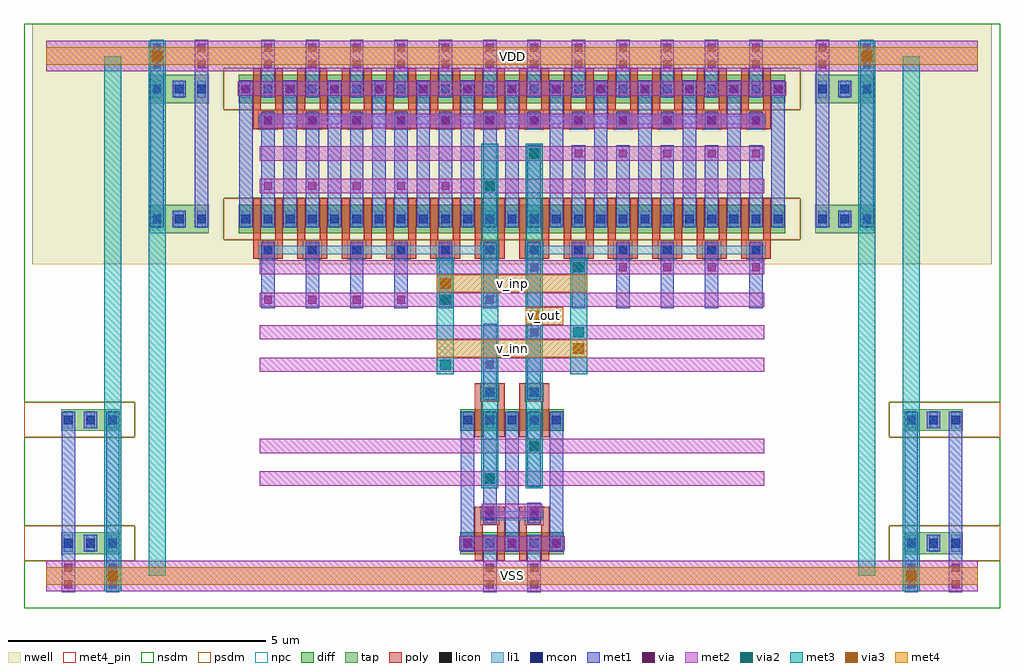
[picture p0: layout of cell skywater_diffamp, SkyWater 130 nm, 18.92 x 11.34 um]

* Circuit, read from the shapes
.subckt skywater_diffamp VDD VSS v_inn v_inp v_out
XM1 VSS n1 n2 VSS sky130_fd_pr__nfet_01v8 w=0.42 l=0.15 m=4
XM2 n1 v_inp n2 VSS sky130_fd_pr__nfet_01v8 w=0.42 l=0.15 m=2
XM3 v_out v_inn n2 VSS sky130_fd_pr__nfet_01v8 w=0.42 l=0.15 m=2
XM4 n1 v_inp n3 VDD sky130_fd_pr__pfet_01v8 w=0.55 l=0.15 m=12
XM5 VDD n1 n3 VDD sky130_fd_pr__pfet_01v8 w=0.55 l=0.15 m=24
XM6 v_out v_inn n3 VDD sky130_fd_pr__pfet_01v8 w=0.55 l=0.15 m=12
.ends

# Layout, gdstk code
from math import pi, radians
import gdstk
lib = gdstk.Library(unit=1e-6, precision=1e-09)
def R(c, l, rs):  # rectangles x0, y0, x1, y1
    for r in rs: c.add(gdstk.rectangle(r[:2], r[2:], *l))
def A(c, l, x, y, w, h, nx, ny, dx, dy):  # array of equal rectangles
    R(c, l, [(x+i*dx, y+j*dy, x+i*dx+w, y+j*dy+h) for i in range(nx) for j in range(ny)])
def P(c, l, *ps):  # polygons
    for p in ps: c.add(gdstk.Polygon(p, *l))
nwell = (64, 20)
diff = (65, 20)
tap = (65, 44)
poly = (66, 20)
licon = (66, 44)
li1 = (67, 20)
mcon = (67, 44)
met1 = (68, 20)
via = (68, 44)
met2 = (69, 20)
via2 = (69, 44)
met3 = (70, 20)
via3 = (70, 44)
met4_pin = (71, 16)
met4 = (71, 20)
nsdm = (93, 44)
psdm = (94, 20)
npc = (95, 20)

skywater_diffamp_mosend = lib.new_cell('skywater_diffamp_MOSEnd')
R(skywater_diffamp_mosend, nsdm, [(0,0,18.06,0.73)])

skywater_diffamp_mosend_ = lib.new_cell('skywater_diffamp_MOSEnd_1')
R(skywater_diffamp_mosend_, nwell, [(0,0,18.06,0.67)])
R(skywater_diffamp_mosend_, nsdm, [(0,0,18.06,0.67)])

skywater_diffamp_mosconn = lib.new_cell('skywater_diffamp_MOSConn_1')
R(skywater_diffamp_mosconn, diff, [(-0.14,0.605,1,1.025)])
R(skywater_diffamp_mosconn, poly, [(0.265,0.105,0.595,0.455)])
P(skywater_diffamp_mosconn, poly, [(0.57,1.155),(0.57,0.455),(0.29,0.455),(0.29,1.155),(0.14,1.155),(0.14,0.105),(0.72,0.105),(0.72,1.155)])
A(skywater_diffamp_mosconn, licon, -0.085, 0.73, 0.17, 0.17, 3, 1, 0.43, 0)
R(skywater_diffamp_mosconn, licon, [(0.345,0.195,0.515,0.365)])
A(skywater_diffamp_mosconn, li1, -0.085, 0.65, 0.17, 0.33, 3, 1, 0.43, 0)
A(skywater_diffamp_mosconn, li1, -0.085, 0.69, 0.17, 0.25, 3, 1, 0.43, 0)
R(skywater_diffamp_mosconn, li1, [(0.265,0.195,0.595,0.365), (0.265,0.195,0.595,0.365), (0.305,0.195,0.555,0.365)])
A(skywater_diffamp_mosconn, mcon, -0.085, 0.73, 0.17, 0.17, 3, 1, 0.43, 0)
R(skywater_diffamp_mosconn, mcon, [(0.345,0.195,0.515,0.365)])
A(skywater_diffamp_mosconn, met1, -0.13, 0.655, 0.26, 0.32, 3, 1, 0.43, 0)
A(skywater_diffamp_mosconn, met1, -0.13, 0.67, 0.26, 0.29, 3, 1, 0.43, 0)
R(skywater_diffamp_mosconn, met1, [(0.3,0.105,0.56,0.425), (0.3,0.135,0.56,0.425)])
R(skywater_diffamp_mosconn, nsdm, [(0,0,0.86,1.35)])
R(skywater_diffamp_mosconn, npc, [(0.245,0.095,0.615,0.465)])

c_skywater_diffamp_mosconn = lib.new_cell('skywater_diffamp_MOSConn_2')
R(c_skywater_diffamp_mosconn, nwell, [(0,0,5.16,1.48)])
R(c_skywater_diffamp_mosconn, diff, [(-0.14,0.605,5.3,1.155)])
A(c_skywater_diffamp_mosconn, poly, 0.265, 0.105, 0.33, 0.35, 6, 1, 0.86, 0)
P(c_skywater_diffamp_mosconn, poly, [(0.57,1.285),(0.57,0.455),(0.29,0.455),(0.29,1.285),(0.14,1.285),(0.14,0.105),(0.72,0.105),(0.72,1.285)],
  [(1.43,1.285),(1.43,0.455),(1.15,0.455),(1.15,1.285),(1,1.285),(1,0.105),(1.58,0.105),(1.58,1.285)],
  [(2.29,1.285),(2.29,0.455),(2.01,0.455),(2.01,1.285),(1.86,1.285),(1.86,0.105),(2.44,0.105),(2.44,1.285)],
  [(3.15,1.285),(3.15,0.455),(2.87,0.455),(2.87,1.285),(2.72,1.285),(2.72,0.105),(3.3,0.105),(3.3,1.285)],
  [(4.01,1.285),(4.01,0.455),(3.73,0.455),(3.73,1.285),(3.58,1.285),(3.58,0.105),(4.16,0.105),(4.16,1.285)],
  [(4.87,1.285),(4.87,0.455),(4.59,0.455),(4.59,1.285),(4.44,1.285),(4.44,0.105),(5.02,0.105),(5.02,1.285)])
A(c_skywater_diffamp_mosconn, licon, 0.345, 0.195, 0.17, 0.17, 6, 1, 0.86, 0)
A(c_skywater_diffamp_mosconn, licon, -0.085, 0.795, 0.17, 0.17, 13, 1, 0.43, 0)
A(c_skywater_diffamp_mosconn, li1, 0.265, 0.195, 0.33, 0.17, 6, 1, 0.86, 0)
A(c_skywater_diffamp_mosconn, li1, 0.305, 0.195, 0.25, 0.17, 6, 1, 0.86, 0)
A(c_skywater_diffamp_mosconn, li1, -0.085, 0.715, 0.17, 0.33, 13, 1, 0.43, 0)
A(c_skywater_diffamp_mosconn, li1, -0.085, 0.755, 0.17, 0.25, 13, 1, 0.43, 0)
R(c_skywater_diffamp_mosconn, li1, [(0.265,0.195,4.895,0.365)])
A(c_skywater_diffamp_mosconn, mcon, 0.345, 0.195, 0.17, 0.17, 6, 1, 0.86, 0)
A(c_skywater_diffamp_mosconn, mcon, -0.085, 0.795, 0.17, 0.17, 13, 1, 0.43, 0)
A(c_skywater_diffamp_mosconn, met1, 0.3, 0.105, 0.26, 0.32, 6, 1, 0.86, 0)
A(c_skywater_diffamp_mosconn, met1, 0.3, 0.135, 0.26, 0.29, 6, 1, 0.86, 0)
A(c_skywater_diffamp_mosconn, met1, -0.13, 0.72, 0.26, 0.32, 13, 1, 0.43, 0)
A(c_skywater_diffamp_mosconn, met1, -0.13, 0.735, 0.26, 0.29, 13, 1, 0.43, 0)
R(c_skywater_diffamp_mosconn, nsdm, [(0,0,5.16,0.475), (0,1.285,5.16,1.48)])
R(c_skywater_diffamp_mosconn, psdm, [(0,0.475,5.16,1.285)])
A(c_skywater_diffamp_mosconn, npc, 0.245, 0.095, 0.37, 0.37, 6, 1, 0.86, 0)

skywater_diffamp_mostap = lib.new_cell('skywater_diffamp_MOSTap')
R(skywater_diffamp_mostap, tap, [(-0.14,0.605,1,1.025)])
A(skywater_diffamp_mostap, licon, -0.085, 0.73, 0.17, 0.17, 3, 1, 0.43, 0)
A(skywater_diffamp_mostap, li1, -0.085, 0.65, 0.17, 0.33, 3, 1, 0.43, 0)
A(skywater_diffamp_mostap, li1, -0.085, 0.69, 0.17, 0.25, 3, 1, 0.43, 0)
A(skywater_diffamp_mostap, mcon, -0.085, 0.73, 0.17, 0.17, 3, 1, 0.43, 0)
A(skywater_diffamp_mostap, met1, -0.13, 0.655, 0.26, 0.32, 3, 1, 0.43, 0)
A(skywater_diffamp_mostap, met1, -0.13, 0.67, 0.26, 0.29, 3, 1, 0.43, 0)
R(skywater_diffamp_mostap, nsdm, [(0,0,0.86,0.475), (0,1.155,0.86,1.35)])
R(skywater_diffamp_mostap, psdm, [(0,0.475,0.86,1.155)])

c_skywater_diffamp_mosconn_ = lib.new_cell('skywater_diffamp_MOSConn')
R(c_skywater_diffamp_mosconn_, diff, [(-0.14,0.605,1.86,1.025)])
R(c_skywater_diffamp_mosconn_, poly, [(0.265,0.105,0.595,0.455), (1.125,0.105,1.455,0.455)])
P(c_skywater_diffamp_mosconn_, poly, [(0.57,1.155),(0.57,0.455),(0.29,0.455),(0.29,1.155),(0.14,1.155),(0.14,0.105),(0.72,0.105),(0.72,1.155)],
  [(1.43,1.155),(1.43,0.455),(1.15,0.455),(1.15,1.155),(1,1.155),(1,0.105),(1.58,0.105),(1.58,1.155)])
A(c_skywater_diffamp_mosconn_, licon, -0.085, 0.73, 0.17, 0.17, 5, 1, 0.43, 0)
R(c_skywater_diffamp_mosconn_, licon, [(0.345,0.195,0.515,0.365), (1.205,0.195,1.375,0.365)])
A(c_skywater_diffamp_mosconn_, li1, -0.085, 0.65, 0.17, 0.33, 5, 1, 0.43, 0)
A(c_skywater_diffamp_mosconn_, li1, -0.085, 0.69, 0.17, 0.25, 5, 1, 0.43, 0)
R(c_skywater_diffamp_mosconn_, li1, [(0.265,0.195,1.455,0.365), (0.265,0.195,0.595,0.365), (0.305,0.195,0.555,0.365), (1.125,0.195,1.455,0.365), (1.165,0.195,1.415,0.365)])
A(c_skywater_diffamp_mosconn_, mcon, -0.085, 0.73, 0.17, 0.17, 5, 1, 0.43, 0)
R(c_skywater_diffamp_mosconn_, mcon, [(0.345,0.195,0.515,0.365), (1.205,0.195,1.375,0.365)])
A(c_skywater_diffamp_mosconn_, met1, -0.13, 0.655, 0.26, 0.32, 5, 1, 0.43, 0)
A(c_skywater_diffamp_mosconn_, met1, -0.13, 0.67, 0.26, 0.29, 5, 1, 0.43, 0)
R(c_skywater_diffamp_mosconn_, met1, [(0.3,0.105,0.56,0.425), (1.16,0.105,1.42,0.425), (0.3,0.135,0.56,0.425), (1.16,0.135,1.42,0.425)])
R(c_skywater_diffamp_mosconn_, nsdm, [(0,0,1.72,1.35)])
R(c_skywater_diffamp_mosconn_, npc, [(0.245,0.095,0.615,0.465), (1.105,0.095,1.475,0.465)])

skywater_diffamp_mostap_ = lib.new_cell('skywater_diffamp_MOSTap_1')
R(skywater_diffamp_mostap_, nwell, [(0,0,0.86,1.48)])
R(skywater_diffamp_mostap_, tap, [(-0.14,0.605,1,1.155)])
A(skywater_diffamp_mostap_, licon, -0.085, 0.795, 0.17, 0.17, 3, 1, 0.43, 0)
A(skywater_diffamp_mostap_, li1, -0.085, 0.715, 0.17, 0.33, 3, 1, 0.43, 0)
A(skywater_diffamp_mostap_, li1, -0.085, 0.755, 0.17, 0.25, 3, 1, 0.43, 0)
A(skywater_diffamp_mostap_, mcon, -0.085, 0.795, 0.17, 0.17, 3, 1, 0.43, 0)
A(skywater_diffamp_mostap_, met1, -0.13, 0.72, 0.26, 0.32, 3, 1, 0.43, 0)
A(skywater_diffamp_mostap_, met1, -0.13, 0.735, 0.26, 0.29, 3, 1, 0.43, 0)
R(skywater_diffamp_mostap_, nsdm, [(0,0,0.86,1.48)])

c_skywater_diffamp_mosconn__ = lib.new_cell('skywater_diffamp_MOSConn_3')
R(c_skywater_diffamp_mosconn__, nwell, [(0,0,10.32,1.48)])
R(c_skywater_diffamp_mosconn__, diff, [(-0.14,0.605,10.46,1.155)])
A(c_skywater_diffamp_mosconn__, poly, 0.265, 0.105, 0.33, 0.35, 12, 1, 0.86, 0)
P(c_skywater_diffamp_mosconn__, poly, [(0.57,1.285),(0.57,0.455),(0.29,0.455),(0.29,1.285),(0.14,1.285),(0.14,0.105),(0.72,0.105),(0.72,1.285)],
  [(1.43,1.285),(1.43,0.455),(1.15,0.455),(1.15,1.285),(1,1.285),(1,0.105),(1.58,0.105),(1.58,1.285)],
  [(2.29,1.285),(2.29,0.455),(2.01,0.455),(2.01,1.285),(1.86,1.285),(1.86,0.105),(2.44,0.105),(2.44,1.285)],
  [(3.15,1.285),(3.15,0.455),(2.87,0.455),(2.87,1.285),(2.72,1.285),(2.72,0.105),(3.3,0.105),(3.3,1.285)],
  [(4.01,1.285),(4.01,0.455),(3.73,0.455),(3.73,1.285),(3.58,1.285),(3.58,0.105),(4.16,0.105),(4.16,1.285)],
  [(4.87,1.285),(4.87,0.455),(4.59,0.455),(4.59,1.285),(4.44,1.285),(4.44,0.105),(5.02,0.105),(5.02,1.285)],
  [(5.73,1.285),(5.73,0.455),(5.45,0.455),(5.45,1.285),(5.3,1.285),(5.3,0.105),(5.88,0.105),(5.88,1.285)],
  [(6.59,1.285),(6.59,0.455),(6.31,0.455),(6.31,1.285),(6.16,1.285),(6.16,0.105),(6.74,0.105),(6.74,1.285)],
  [(7.45,1.285),(7.45,0.455),(7.17,0.455),(7.17,1.285),(7.02,1.285),(7.02,0.105),(7.6,0.105),(7.6,1.285)],
  [(8.31,1.285),(8.31,0.455),(8.03,0.455),(8.03,1.285),(7.88,1.285),(7.88,0.105),(8.46,0.105),(8.46,1.285)],
  [(9.17,1.285),(9.17,0.455),(8.89,0.455),(8.89,1.285),(8.74,1.285),(8.74,0.105),(9.32,0.105),(9.32,1.285)],
  [(10.03,1.285),(10.03,0.455),(9.75,0.455),(9.75,1.285),(9.6,1.285),(9.6,0.105),(10.18,0.105),(10.18,1.285)])
A(c_skywater_diffamp_mosconn__, licon, 0.345, 0.195, 0.17, 0.17, 12, 1, 0.86, 0)
A(c_skywater_diffamp_mosconn__, licon, -0.085, 0.795, 0.17, 0.17, 25, 1, 0.43, 0)
A(c_skywater_diffamp_mosconn__, li1, 0.265, 0.195, 0.33, 0.17, 12, 1, 0.86, 0)
A(c_skywater_diffamp_mosconn__, li1, 0.305, 0.195, 0.25, 0.17, 12, 1, 0.86, 0)
A(c_skywater_diffamp_mosconn__, li1, -0.085, 0.715, 0.17, 0.33, 25, 1, 0.43, 0)
A(c_skywater_diffamp_mosconn__, li1, -0.085, 0.755, 0.17, 0.25, 25, 1, 0.43, 0)
R(c_skywater_diffamp_mosconn__, li1, [(0.265,0.195,10.055,0.365)])
A(c_skywater_diffamp_mosconn__, mcon, 0.345, 0.195, 0.17, 0.17, 12, 1, 0.86, 0)
A(c_skywater_diffamp_mosconn__, mcon, -0.085, 0.795, 0.17, 0.17, 25, 1, 0.43, 0)
A(c_skywater_diffamp_mosconn__, met1, 0.3, 0.105, 0.26, 0.32, 12, 1, 0.86, 0)
A(c_skywater_diffamp_mosconn__, met1, 0.3, 0.135, 0.26, 0.29, 12, 1, 0.86, 0)
A(c_skywater_diffamp_mosconn__, met1, -0.13, 0.72, 0.26, 0.32, 25, 1, 0.43, 0)
A(c_skywater_diffamp_mosconn__, met1, -0.13, 0.735, 0.26, 0.29, 25, 1, 0.43, 0)
R(c_skywater_diffamp_mosconn__, nsdm, [(0,0,10.32,0.475), (0,1.285,10.32,1.48)])
R(c_skywater_diffamp_mosconn__, psdm, [(0,0.475,10.32,1.285)])
A(c_skywater_diffamp_mosconn__, npc, 0.245, 0.095, 0.37, 0.37, 12, 1, 0.86, 0)

skywater_diffamp_diffamp = lib.new_cell('skywater_diffamp_DiffAmpSelfBiased')
A(skywater_diffamp_diffamp, met1, 8.04, 0.47, 0.26, 2.715, 3, 1, 0.86, 0)
A(skywater_diffamp_diffamp, met1, 8.04, 0.47, 0.26, 0.32, 3, 1, 0.86, 0)
A(skywater_diffamp_diffamp, met1, 4.17, 5.195, 0.26, 1.27, 12, 1, 0.86, 0)
A(skywater_diffamp_diffamp, met1, 4.17, 5.195, 0.26, 0.32, 6, 2, 0.86, 2.205)
A(skywater_diffamp_diffamp, met1, 9.33, 5.825, 0.26, 0.32, 6, 2, 0.86, 2.205)
A(skywater_diffamp_diffamp, met1, 3.74, 6.76, 0.26, 2.85, 13, 1, 0.86, 0)
A(skywater_diffamp_diffamp, met1, 4.17, 6.76, 0.26, 2.225, 6, 1, 0.86, 0)
A(skywater_diffamp_diffamp, met1, 9.33, 6.76, 0.26, 1.59, 6, 1, 0.86, 0)
A(skywater_diffamp_diffamp, met1, 8.47, 8.66, 0.26, 0.32, 7, 1, 0.86, 0)
A(skywater_diffamp_diffamp, met1, 9.33, 8.66, 0.26, 0.325, 6, 1, 0.86, 0)
A(skywater_diffamp_diffamp, met1, 4.17, 9.28, 0.26, 1.12, 12, 1, 0.86, 0)
A(skywater_diffamp_diffamp, met1, 3.74, 9.29, 0.26, 0.32, 13, 1, 0.86, 0)
A(skywater_diffamp_diffamp, met1, 4.17, 9.76, 0.26, 0.64, 12, 1, 0.86, 0)
R(skywater_diffamp_diffamp, met1, [(0.3,-0.32,0.56,3.185), (0.3,-0.32,0.56,0.32), (1.16,-0.32,1.42,3.185), (1.16,-0.32,1.42,0.32), (8.47,-0.32,8.73,0.795), (8.47,-0.32,8.73,0.32), (9.33,-0.32,9.59,0.795), (9.33,-0.32,9.59,0.32), (16.64,-0.32,16.9,3.185), (16.64,-0.32,16.9,0.32), (17.5,-0.32,17.76,3.185), (17.5,-0.32,17.76,0.32), (8.47,1.025,8.73,3.185), (9.33,1.025,9.59,1.42), (8.47,1.1,8.73,1.42), (8.47,1.1,8.73,1.42), (9.33,1.1,9.59,1.42), (8.47,1.73,8.73,2.05), (9.33,1.73,9.59,3.185), (9.33,2.36,9.59,2.68), (8.47,3.415,8.73,4.885), (9.33,3.415,9.59,4.885), (8.47,3.935,8.73,4.255), (9.33,4.565,9.59,4.885), (2.02,6.76,2.28,10.4), (2.88,6.76,3.14,10.4), (14.92,6.76,15.18,10.4), (15.78,6.76,16.04,10.4), (4.17,8.66,4.43,8.98), (4.17,8.66,4.43,8.98), (5.03,8.66,5.29,8.98), (5.03,8.66,5.29,8.98), (5.89,8.66,6.15,8.98), (5.89,8.66,6.15,8.98), (6.75,8.66,7.01,8.98), (6.75,8.66,7.01,8.98), (7.61,8.66,7.87,8.98), (7.61,8.66,7.87,8.98), (8.47,8.66,8.73,8.98), (2.02,9.76,2.28,10.4), (2.88,9.76,3.14,10.4), (14.92,9.76,15.18,10.4), (15.78,9.76,16.04,10.4)])
A(skywater_diffamp_diffamp, via, 8.095, 0.555, 0.15, 0.15, 3, 1, 0.86, 0)
A(skywater_diffamp_diffamp, via, 4.225, 5.28, 0.15, 0.15, 6, 2, 0.86, 2.205)
A(skywater_diffamp_diffamp, via, 9.385, 5.91, 0.15, 0.15, 6, 2, 0.86, 2.205)
A(skywater_diffamp_diffamp, via, 8.525, 8.745, 0.15, 0.15, 7, 1, 0.86, 0)
A(skywater_diffamp_diffamp, via, 3.795, 9.375, 0.15, 0.15, 13, 1, 0.86, 0)
A(skywater_diffamp_diffamp, via, 4.225, 9.845, 0.15, 0.15, 12, 2, 0.86, 0.32)
R(skywater_diffamp_diffamp, via, [(0.355,-0.235,0.505,-0.085), (1.215,-0.235,1.365,-0.085), (8.525,-0.235,8.675,-0.085), (9.385,-0.235,9.535,-0.085), (16.695,-0.235,16.845,-0.085), (17.555,-0.235,17.705,-0.085), (0.355,0.085,0.505,0.235), (1.215,0.085,1.365,0.235), (8.525,0.085,8.675,0.235), (9.385,0.085,9.535,0.235), (16.695,0.085,16.845,0.235), (17.555,0.085,17.705,0.235), (8.525,1.185,8.675,1.335), (8.525,1.185,8.675,1.335), (9.385,1.185,9.535,1.335), (8.525,1.815,8.675,1.965), (9.385,2.445,9.535,2.595), (8.525,4.02,8.675,4.17), (9.385,4.65,9.535,4.8), (4.225,8.745,4.375,8.895), (4.225,8.745,4.375,8.895), (5.085,8.745,5.235,8.895), (5.085,8.745,5.235,8.895), (5.945,8.745,6.095,8.895), (5.945,8.745,6.095,8.895), (6.805,8.745,6.955,8.895), (6.805,8.745,6.955,8.895), (7.665,8.745,7.815,8.895), (7.665,8.745,7.815,8.895), (8.525,8.745,8.675,8.895), (2.075,9.845,2.225,9.995), (2.935,9.845,3.085,9.995), (14.975,9.845,15.125,9.995), (15.835,9.845,15.985,9.995), (2.075,10.165,2.225,10.315), (2.935,10.165,3.085,10.315), (14.975,10.165,15.125,10.315), (15.835,10.165,15.985,10.315)])
A(skywater_diffamp_diffamp, met2, 8.01, 0.49, 0.32, 0.28, 3, 1, 0.86, 0)
A(skywater_diffamp_diffamp, met2, 4.14, 3.955, 9.78, 0.28, 1, 4, 0, 0.63)
A(skywater_diffamp_diffamp, met2, 4.14, 5.215, 0.32, 0.28, 6, 2, 0.86, 2.205)
A(skywater_diffamp_diffamp, met2, 9.3, 5.845, 0.32, 0.28, 6, 2, 0.86, 2.205)
A(skywater_diffamp_diffamp, met2, 4.14, 7.42, 9.78, 0.28, 1, 3, 0, 0.63)
A(skywater_diffamp_diffamp, met2, 8.44, 8.68, 0.32, 0.28, 7, 1, 0.86, 0)
A(skywater_diffamp_diffamp, met2, 3.71, 9.31, 0.32, 0.28, 13, 1, 0.86, 0)
A(skywater_diffamp_diffamp, met2, 4.14, 9.785, 0.32, 0.59, 12, 1, 0.86, 0)
R(skywater_diffamp_diffamp, met2, [(0,-0.295,18.06,0.295), (0.27,-0.295,0.59,0.295), (1.125,-0.295,1.455,0.295), (1.13,-0.295,1.45,0.295), (8.44,-0.295,8.76,0.295), (9.3,-0.295,9.62,0.295), (16.605,-0.295,16.935,0.295), (16.61,-0.295,16.93,0.295), (17.47,-0.295,17.79,0.295), (8.01,0.49,10.05,0.77), (8.44,1.12,9.62,1.4), (8.44,1.12,8.76,1.4), (8.44,1.12,8.76,1.4), (9.3,1.12,9.62,1.4), (4.14,1.75,13.92,2.03), (8.415,1.75,8.785,2.03), (8.44,1.75,8.76,2.03), (4.14,2.38,13.92,2.66), (9.275,2.38,9.645,2.66), (9.3,2.38,9.62,2.66), (7.555,3.955,7.925,4.235), (8.44,3.955,8.76,4.235), (9.3,4.585,9.62,4.865), (10.135,4.585,10.505,4.865), (7.555,5.215,7.925,5.495), (10.135,5.845,10.505,6.125), (8.415,7.42,8.785,7.7), (9.275,8.05,9.645,8.33), (4.14,8.68,4.46,8.96), (4.14,8.68,4.46,8.96), (5,8.68,5.32,8.96), (5,8.68,5.32,8.96), (5.86,8.68,6.18,8.96), (5.86,8.68,6.18,8.96), (6.72,8.68,7.04,8.96), (6.72,8.68,7.04,8.96), (7.58,8.68,7.9,8.96), (7.58,8.68,7.9,8.96), (8.44,8.68,8.76,8.96), (3.71,9.31,14.35,9.59), (0,9.785,18.06,10.375), (1.985,9.785,2.315,10.375), (1.99,9.785,2.31,10.375), (2.85,9.785,3.17,10.375), (14.89,9.785,15.21,10.375), (15.745,9.785,16.075,10.375), (15.75,9.785,16.07,10.375)])
R(skywater_diffamp_diffamp, via2, [(1.19,-0.1,1.39,0.1), (16.67,-0.1,16.87,0.1), (8.5,1.79,8.7,1.99), (9.36,2.42,9.56,2.62), (7.64,3.995,7.84,4.195), (10.22,4.625,10.42,4.825), (7.64,5.255,7.84,5.455), (10.22,5.885,10.42,6.085), (8.5,7.46,8.7,7.66), (9.36,8.09,9.56,8.29), (2.05,9.98,2.25,10.18), (15.81,9.98,16.01,10.18)])
R(skywater_diffamp_diffamp, met3, [(1.125,-0.295,1.455,10.08), (1.125,-0.295,1.455,0.295), (16.605,-0.295,16.935,10.08), (16.605,-0.295,16.935,0.295), (1.125,-0.19,1.455,0.19), (16.605,-0.19,16.935,0.19), (1.985,0,2.315,10.375), (15.745,0,16.075,10.375), (8.435,1.705,8.765,8.375), (8.435,1.705,8.765,2.075), (9.295,1.705,9.625,8.375), (9.295,2.335,9.625,2.705), (7.575,3.91,7.905,6.17), (7.575,3.91,7.905,4.28), (10.155,3.91,10.485,6.17), (10.155,4.22,10.485,4.6), (10.155,4.54,10.485,4.91), (9.295,4.85,9.625,5.23), (7.575,5.17,7.905,5.54), (7.575,5.48,7.905,5.86), (10.155,5.8,10.485,6.17), (8.435,7.375,8.765,7.745), (9.295,8.005,9.625,8.375), (1.985,9.785,2.315,10.375), (15.745,9.785,16.075,10.375), (1.985,9.89,2.315,10.27), (15.745,9.89,16.075,10.27)])
R(skywater_diffamp_diffamp, via3, [(1.19,-0.1,1.39,0.1), (16.67,-0.1,16.87,0.1), (10.22,4.31,10.42,4.51), (9.36,4.94,9.56,5.14), (7.64,5.57,7.84,5.77), (2.05,9.98,2.25,10.18), (15.81,9.98,16.01,10.18)])
R(skywater_diffamp_diffamp, met4, [(0,-0.165,18.06,0.165), (1.125,-0.165,1.455,0.165), (16.605,-0.165,16.935,0.165), (7.575,4.245,10.485,4.575), (10.155,4.245,10.485,4.575), (9.295,4.875,10.025,5.205), (9.295,4.875,9.625,5.205), (7.575,5.505,10.485,5.835), (7.575,5.505,7.905,5.835), (0,9.915,18.06,10.245), (1.985,9.915,2.315,10.245), (15.745,9.915,16.075,10.245)])
skywater_diffamp_diffamp.add(gdstk.Reference(skywater_diffamp_mosconn, (9.03,3.84), x_reflection=True))
skywater_diffamp_diffamp.add(gdstk.Reference(c_skywater_diffamp_mosconn, (9.03,6.04)))
skywater_diffamp_diffamp.add(gdstk.Reference(skywater_diffamp_mostap, (0.43,1.45), x_reflection=True))
skywater_diffamp_diffamp.add(gdstk.Reference(c_skywater_diffamp_mosconn_, (8.17,1.45), x_reflection=True))
skywater_diffamp_diffamp.add(gdstk.Reference(skywater_diffamp_mostap, (17.63,1.45), rotation=pi))
skywater_diffamp_diffamp.add(gdstk.Reference(skywater_diffamp_mostap, (0.43,3.84), x_reflection=True))
skywater_diffamp_diffamp.add(gdstk.Reference(skywater_diffamp_mosconn, (9.03,3.84), rotation=pi))
skywater_diffamp_diffamp.add(gdstk.Reference(skywater_diffamp_mostap, (17.63,3.84), rotation=pi))
skywater_diffamp_diffamp.add(gdstk.Reference(c_skywater_diffamp_mosconn, (9.03,6.04), rotation=pi, x_reflection=True))
skywater_diffamp_diffamp.add(gdstk.Reference(skywater_diffamp_mostap_, (15.91,6.04), rotation=pi, x_reflection=True))
skywater_diffamp_diffamp.add(gdstk.Reference(skywater_diffamp_mostap_, (2.15,6.04)))
skywater_diffamp_diffamp.add(gdstk.Reference(skywater_diffamp_mostap_, (15.91,8.56), rotation=pi, x_reflection=True))
skywater_diffamp_diffamp.add(gdstk.Reference(skywater_diffamp_mostap_, (2.15,8.56)))
skywater_diffamp_diffamp.add(gdstk.Reference(c_skywater_diffamp_mosconn__, (3.87,8.56)))

skywater_diffamp_moscorn = lib.new_cell('skywater_diffamp_MOSCorner')
R(skywater_diffamp_moscorn, nsdm, [(0,0,0.43,0.73)])

c_skywater_diffamp_moscorn = lib.new_cell('skywater_diffamp_MOSCorner_1')
R(c_skywater_diffamp_moscorn, nwell, [(0.16,0,0.43,0.67)])
R(c_skywater_diffamp_moscorn, nsdm, [(0,0,0.43,0.67)])

skywater_diffamp_mosrowe = lib.new_cell('skywater_diffamp_MOSRowEdge')
R(skywater_diffamp_mosrowe, nsdm, [(0,0,0.43,0.475), (0,1.155,0.43,1.35)])
R(skywater_diffamp_mosrowe, psdm, [(0,0.475,0.43,1.155)])

c_skywater_diffamp_mosrowe = lib.new_cell('skywater_diffamp_MOSRowEdge_1')
R(c_skywater_diffamp_mosrowe, nwell, [(0.16,0,0.43,1.48)])
R(c_skywater_diffamp_mosrowe, nsdm, [(0,0,0.43,1.48)])

skywater_diffamp_mosspac = lib.new_cell('skywater_diffamp_MOSSpace')
R(skywater_diffamp_mosspac, nsdm, [(0,0,0.43,0.475), (0,1.155,0.43,1.35)])
R(skywater_diffamp_mosspac, psdm, [(0,0.475,0.43,1.155)])

c_skywater_diffamp_mosspac = lib.new_cell('skywater_diffamp_MOSSpace_2')
P(c_skywater_diffamp_mosspac, nsdm, [(0,1.35),(0,0),(6.88,0),(6.88,0.475),(6.45,0.475),(6.45,1.155),(6.88,1.155),(6.88,1.35)])
R(c_skywater_diffamp_mosspac, psdm, [(6.45,0.475,6.88,1.155)])

c_skywater_diffamp_mosspac_ = lib.new_cell('skywater_diffamp_MOSSpace_1')
P(c_skywater_diffamp_mosspac_, nsdm, [(0,1.35),(0,1.155),(0.43,1.155),(0.43,0.475),(0,0.475),(0,0),(6.88,0),(6.88,1.35)])
R(c_skywater_diffamp_mosspac_, psdm, [(0,0.475,0.43,1.155)])

c_skywater_diffamp_mosspac__ = lib.new_cell('skywater_diffamp_MOSSpace_3')
R(c_skywater_diffamp_mosspac__, nsdm, [(0,0,0.43,0.475), (0,1.155,0.43,1.35)])
R(c_skywater_diffamp_mosspac__, psdm, [(0,0.475,0.43,1.155)])

c_skywater_diffamp_mosspac___ = lib.new_cell('skywater_diffamp_MOSSpace_4')
R(c_skywater_diffamp_mosspac___, nwell, [(0,0,2.15,1.48)])
R(c_skywater_diffamp_mosspac___, nsdm, [(0,0,2.15,1.48)])

c_skywater_diffamp_mosspac____ = lib.new_cell('skywater_diffamp_MOSSpace_6')
R(c_skywater_diffamp_mosspac____, nwell, [(0,0,0.86,1.48)])
P(c_skywater_diffamp_mosspac____, nsdm, [(0,1.48),(0,1.285),(0.43,1.285),(0.43,0.475),(0,0.475),(0,0),(0.86,0),(0.86,1.48)])
R(c_skywater_diffamp_mosspac____, psdm, [(0,0.475,0.43,1.285)])

c_skywater_diffamp_mosspac_____ = lib.new_cell('skywater_diffamp_MOSSpace_7')
R(c_skywater_diffamp_mosspac_____, nwell, [(0,0,2.15,1.48)])
R(c_skywater_diffamp_mosspac_____, nsdm, [(0,0,2.15,1.48)])

c_skywater_diffamp_mosspac______ = lib.new_cell('skywater_diffamp_MOSSpace_5')
R(c_skywater_diffamp_mosspac______, nwell, [(0,0,0.86,1.48)])
P(c_skywater_diffamp_mosspac______, nsdm, [(0,1.48),(0,0),(0.86,0),(0.86,0.475),(0.43,0.475),(0.43,1.285),(0.86,1.285),(0.86,1.48)])
R(c_skywater_diffamp_mosspac______, psdm, [(0.43,0.475,0.86,1.285)])

c_skywater_diffamp_diffamp = lib.new_cell('skywater_diffamp_DiffAmpSelfBiasedWrap')
R(c_skywater_diffamp_diffamp, nwell, [(0.16,8.15,18.76,9.19)])
R(c_skywater_diffamp_diffamp, nsdm, [(0,2.08,18.92,3.12), (0,4.47,18.92,6.67), (0,8.15,18.92,9.19)])
c_skywater_diffamp_diffamp.add(gdstk.Reference(skywater_diffamp_mosend, (0.43,0)))
c_skywater_diffamp_diffamp.add(gdstk.Reference(skywater_diffamp_mosend_, (0.43,11.34), x_reflection=True))
c_skywater_diffamp_diffamp.add(gdstk.Reference(skywater_diffamp_diffamp, (0.43,0.63)))
c_skywater_diffamp_diffamp.add(gdstk.Reference(skywater_diffamp_moscorn, (0,0)))
c_skywater_diffamp_diffamp.add(gdstk.Reference(skywater_diffamp_moscorn, (18.92,0), rotation=pi, x_reflection=True))
c_skywater_diffamp_diffamp.add(gdstk.Reference(c_skywater_diffamp_moscorn, (0,11.34), x_reflection=True))
c_skywater_diffamp_diffamp.add(gdstk.Reference(c_skywater_diffamp_moscorn, (18.92,11.34), rotation=pi))
c_skywater_diffamp_diffamp.add(gdstk.Reference(skywater_diffamp_mosrowe, (0,2.08), x_reflection=True))
c_skywater_diffamp_diffamp.add(gdstk.Reference(skywater_diffamp_mosrowe, (18.92,2.08), rotation=pi))
c_skywater_diffamp_diffamp.add(gdstk.Reference(skywater_diffamp_mosrowe, (0,4.47), x_reflection=True))
c_skywater_diffamp_diffamp.add(gdstk.Reference(skywater_diffamp_mosrowe, (18.92,4.47), rotation=pi))
c_skywater_diffamp_diffamp.add(gdstk.Reference(c_skywater_diffamp_mosrowe, (0,6.67)))
c_skywater_diffamp_diffamp.add(gdstk.Reference(c_skywater_diffamp_mosrowe, (18.92,6.67), rotation=pi, x_reflection=True))
c_skywater_diffamp_diffamp.add(gdstk.Reference(c_skywater_diffamp_mosrowe, (0,9.19)))
c_skywater_diffamp_diffamp.add(gdstk.Reference(c_skywater_diffamp_mosrowe, (18.92,9.19), rotation=pi, x_reflection=True))
c_skywater_diffamp_diffamp.add(gdstk.Reference(skywater_diffamp_mosspac, (0.43,2.08), x_reflection=True))
c_skywater_diffamp_diffamp.add(gdstk.Reference(c_skywater_diffamp_mosspac, (10.32,2.08), x_reflection=True))
c_skywater_diffamp_diffamp.add(gdstk.Reference(c_skywater_diffamp_mosspac_, (1.72,2.08), x_reflection=True))
c_skywater_diffamp_diffamp.add(gdstk.Reference(c_skywater_diffamp_mosspac__, (18.06,2.08), x_reflection=True))
c_skywater_diffamp_diffamp.add(gdstk.Reference(skywater_diffamp_mosspac, (0.43,4.47), x_reflection=True))
c_skywater_diffamp_diffamp.add(gdstk.Reference(c_skywater_diffamp_mosspac, (10.32,4.47), x_reflection=True))
c_skywater_diffamp_diffamp.add(gdstk.Reference(c_skywater_diffamp_mosspac_, (1.72,4.47), x_reflection=True))
c_skywater_diffamp_diffamp.add(gdstk.Reference(c_skywater_diffamp_mosspac__, (18.06,4.47), x_reflection=True))
c_skywater_diffamp_diffamp.add(gdstk.Reference(c_skywater_diffamp_mosspac___, (0.43,6.67)))
c_skywater_diffamp_diffamp.add(gdstk.Reference(c_skywater_diffamp_mosspac____, (14.62,6.67)))
c_skywater_diffamp_diffamp.add(gdstk.Reference(c_skywater_diffamp_mosspac_____, (16.34,6.67)))
c_skywater_diffamp_diffamp.add(gdstk.Reference(c_skywater_diffamp_mosspac______, (3.44,6.67)))
c_skywater_diffamp_diffamp.add(gdstk.Reference(c_skywater_diffamp_mosspac___, (0.43,9.19)))
c_skywater_diffamp_diffamp.add(gdstk.Reference(c_skywater_diffamp_mosspac____, (14.62,9.19)))
c_skywater_diffamp_diffamp.add(gdstk.Reference(c_skywater_diffamp_mosspac_____, (16.34,9.19)))
c_skywater_diffamp_diffamp.add(gdstk.Reference(c_skywater_diffamp_mosspac______, (3.44,9.19)))

skywater_diffamp = lib.new_cell('skywater_diffamp')
R(skywater_diffamp, met4_pin, [(0.43,0.78,18.49,1.11), (8.005,5.19,10.915,5.52), (9.725,5.82,10.455,6.15), (8.005,6.45,10.915,6.78), (0.43,10.86,18.49,11.19)])
skywater_diffamp.add(gdstk.Reference(c_skywater_diffamp_diffamp, (0,0.315)))
skywater_diffamp.add(gdstk.Label('VDD', (9.46,11.025), layer=71, texttype=16))
skywater_diffamp.add(gdstk.Label('VSS', (9.46,0.945), layer=71, texttype=16))
skywater_diffamp.add(gdstk.Label('v_inp', (9.46,6.615), layer=71, texttype=16))
skywater_diffamp.add(gdstk.Label('v_inn', (9.46,5.355), layer=71, texttype=16))
skywater_diffamp.add(gdstk.Label('v_out', (10.09,5.985), layer=71, texttype=16))

lib.write_gds('skywater_diffamp.gds')
